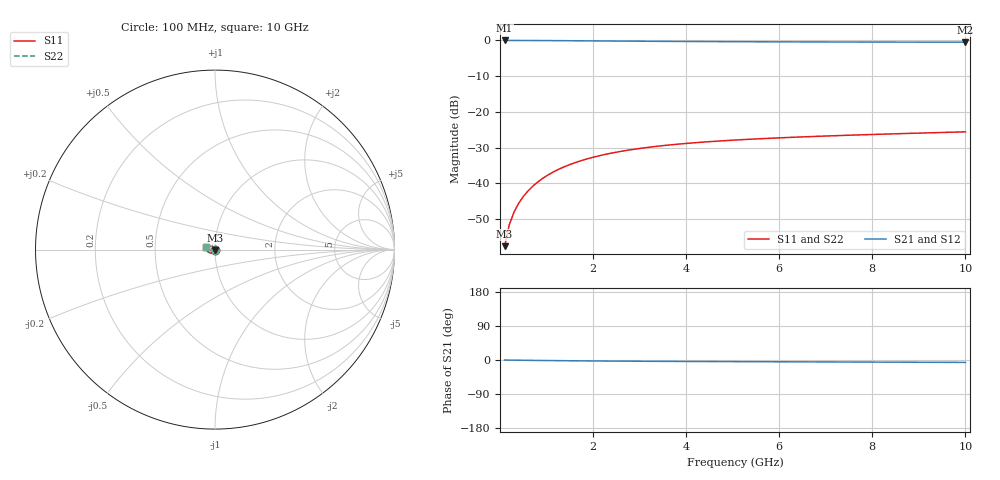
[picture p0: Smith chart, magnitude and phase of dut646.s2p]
! Touchstone file exported from HFSS 2024.1.0
!  File:  C:/UserFiles/LocalFiles/RDL_TSV_Batchsim/temp_TSV1_646_1779791653.aedt
!  Generated:  06:40:39 PM May 26, 2026
!  Design:  TSV1
!  Project:  temp_TSV1_646_1779791653
!  Setup:  Setup1
!  Solution:  Sweep
! Variables:
!  dtsv = 9.22um
!  hbump = 3um
!  htsv = 99.67um
!  lrdl = 252.1521522um
!  p = 40
!  p1 = 54.8um
!  t = 500um
!  trdl = 3um
!  wrdl = 24.89489489um
# GHz S MA R 50.000000
! Terminal data exported
! Port[1] = TSV22_T1
! Port[2] = TSV22_T2
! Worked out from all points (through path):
!   100 points, 100 MHz to 10 GHz, reference 50 ohm
!   highest |S21| = 0.00 dB at 100 MHz (marker M1); lowest = -0.5 dB at 10 GHz (marker M2)
!   lowest |S11| = -57.6 dB at 100 MHz (marker M3), VSWR 1.00, Z = 50 - j0.132 ohm
!   |S11| at or under -10 dB: start of sweep to end of sweep
!   |S22| runs from -57.6 to -25.6 dB; largest |S21 - S12| = 6e-15
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0.1  0.001325 -83.5  0.9998 -0.1  0.9998 -0.1  0.001325 -83.5
! Gamma 0 0 0 0
! Port Impedance 50 0 50 0
0.2  0.002629 -89.5  0.9996 -0.3  0.9996 -0.3  0.002629 -89.5
0.3  0.003936 -92.9  0.9994 -0.4  0.9994 -0.4  0.003936 -92.9
0.4  0.005239 -95.5  0.999 -0.6  0.999 -0.6  0.005239 -95.5
0.5  0.006533 -97.9  0.9986 -0.7  0.9986 -0.7  0.006533 -97.9
0.6  0.007813 -100.1  0.9981 -0.9  0.9981 -0.9  0.007813 -100.1
0.7  0.009077 -102.3  0.9976 -1.0  0.9976 -1.0  0.009077 -102.3
0.8  0.01032 -104.4  0.9969 -1.1  0.9969 -1.1  0.01032 -104.4
0.9  0.01154 -106.4  0.9962 -1.3  0.9962 -1.3  0.01154 -106.4
1.1  0.01392 -110.3  0.9947 -1.5  0.9947 -1.5  0.01392 -110.3
1.4  0.01728 -115.9  0.992 -1.9  0.992 -1.9  0.01728 -115.9
1.6  0.01938 -119.5  0.99 -2.1  0.99 -2.1  0.01938 -119.5
1.8  0.02135 -122.9  0.988 -2.3  0.988 -2.3  0.02135 -122.9
2.1  0.02409 -127.8  0.9848 -2.6  0.9848 -2.6  0.02409 -127.8
2.5  0.02735 -133.8  0.9807 -2.9  0.9807 -2.9  0.02734 -133.8
2.9  0.03018 -139.4  0.9767 -3.2  0.9767 -3.2  0.03018 -139.4
3.4  0.03321 -145.7  0.9721 -3.5  0.9721 -3.5  0.03321 -145.7
4.2  0.03713 -154.6  0.9659 -3.9  0.9659 -3.9  0.03713 -154.6
5.1  0.04058 -163.1  0.9603 -4.3  0.9603 -4.3  0.04057 -163.1
6.7  0.04526 -175.6  0.9533 -5.0  0.9533 -5.0  0.04526 -175.6
8.4  0.04925 173.8  0.9485 -5.7  0.9485 -5.7  0.04925 173.8
10  0.05265 165.4  0.9453 -6.4  0.9453 -6.4  0.05265 165.4
